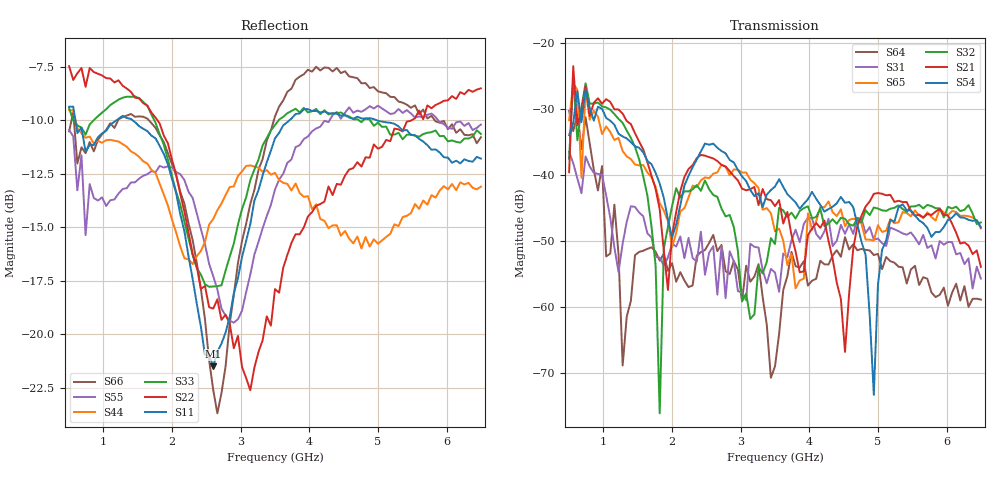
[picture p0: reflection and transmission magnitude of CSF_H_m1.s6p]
!Keysight Technologies,M9804A,MY58100912,A.14.10.03
!Date: Thursday, April 27, 2023 10:28:33
!Correction: S11(C  6-Port  )
!S12(C  6-Port  )
!S13(C  6-Port  )
!S14(C  6-Port  )
!S15(C  6-Port  )
!S16(C  6-Port  )
!S21(C  6-Port  )
!S22(C  6-Port  )
!S23(C  6-Port  )
!S24(C  6-Port  )
!S25(C  6-Port  )
!S26(C  6-Port  )
!S31(C  6-Port  )
!S32(C  6-Port  )
!S33(C  6-Port  )
!S34(C  6-Port  )
!S35(C  6-Port  )
!S36(C  6-Port  )
!S41(C  6-Port  )
!S42(C  6-Port  )
!S43(C  6-Port  )
!S44(C  6-Port  )
!S45(C  6-Port  )
!S46(C  6-Port  )
!S51(C  6-Port  )
!S52(C  6-Port  )
!S53(C  6-Port  )
!S54(C  6-Port  )
!S55(C  6-Port  )
!S56(C  6-Port  )
!S61(C  6-Port  )
!S62(C  6-Port  )
!S63(C  6-Port  )
!S64(C  6-Port  )
!S65(C  6-Port  )
!S66(C  6-Port  )
!S6P File: Measurement: :
# Hz S  RI  R 50
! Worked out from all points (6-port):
!   101 points, 500 MHz to 6.5 GHz, reference 50 ohm
!   strongest paths, dB at 500 MHz, 2 GHz, 3.5 GHz, 5 GHz, 6.5 GHz:
!     S54: -33.9, -49.5, -41.7, -56.7, -47.9
!     S21: -39.6, -49.1, -44.7, -42.7, -53.9
!     S32: -37.5, -44.7, -50.5, -45.1, -47.2
!     S65: -31.7, -50.9, -48.5, -47.6, -48.1
!     S31: -36.5, -50.4, -54.8, -49.6, -55.7
!     S64: -30.3, -53.4, -69.1, -52.0, -58.9
!   lowest |S11| = -21.5 dB at 2.6 GHz (marker M1), VSWR 1.18, Z = 42.5 + j2.18 ohm
!   |S11| at or under -10 dB: 590.6 MHz to 1.194 GHz (603 MHz wide, 67.6 % of centre); 1.422 GHz to 3.714 GHz (2.292 GHz wide, 89.2 % of centre); 4.975 GHz to end of sweep
